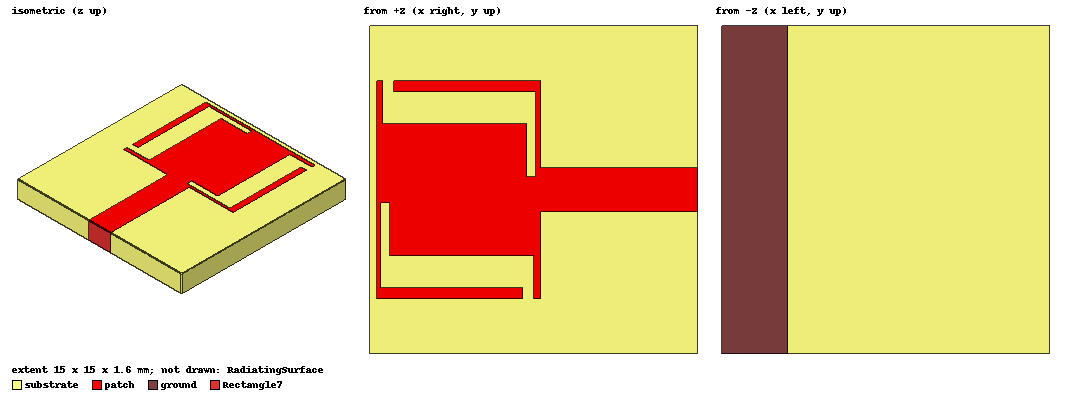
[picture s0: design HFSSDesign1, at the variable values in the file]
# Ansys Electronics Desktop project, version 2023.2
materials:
  vacuum: permittivity=1
  FR4_epoxy: permittivity=4.4 dielectric_loss_tangent=0.02
  air: permittivity=1.0006 permeability=1.0000004

design HFSSDesign1 (HFSS, HFSS Terminal Network, model units mm)
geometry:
  substrate [FR4_epoxy] = box(corner=((-15/2) mm, (-15/2) mm, 0mm), size=(15mm, 15mm, 1.6mm))
  patch = rectangle(corner=(-7.2mm, -5mm, 1.6mm), x_size=7.5mm, y_size=10mm)
  feedline = rectangle(corner=(7.5mm, -1mm, 1.6mm), x_size=-7.2mm, y_size=2mm)
  Rectangle1 = rectangle(corner=(-7mm, -4.5mm, 1.6mm), x_size=7mm, y_size=1.5mm)
  Rectangle2 = rectangle(corner=(0mm, -4.5mm, 1.6mm), x_size=-0.5mm, y_size=-0.5mm)
  Rectangle3 = rectangle(corner=(-7mm, -3mm, 1.6mm), x_size=0.4mm, y_size=2.4mm)
  Rectangle4 = rectangle(corner=(0.1mm, 2.8mm, 1.6mm), x_size=-0.4mm, y_size=-2.4mm)
  Rectangle5 = rectangle(corner=(-6.9mm, 4.5mm, 1.6mm), x_size=0.5mm, y_size=0.5mm)
  Rectangle6 = rectangle(corner=(-6.9mm, 4.5mm, 1.6mm), x_size=7mm, y_size=-1.5mm)
  Rectangle4.move(8.3266727e-17mm, 0.2mm, 0mm)
  patch.subtract(Rectangle1)
  patch.subtract(Rectangle2)
  patch.subtract(Rectangle3)
  patch.subtract(Rectangle4)
  patch.subtract(Rectangle5)
  patch.subtract(Rectangle6)
  patch.unite(feedline)
  ground = rectangle(corner=(7.5mm, -7.5mm, 0mm), x_size=-3mm, y_size=15mm)
  Rectangle7 = rectangle(corner=(7.5mm, -1mm, 1.6mm), y_size=2mm, z_size=-1.6mm)
  RadiatingSurface [vacuum] = region(absolute_offset=41.666667mm on all sides)
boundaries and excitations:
  PerfE1: Perfect E Objects=ground
  PerfE2: Perfect E Objects=patch
  Open1: Radiation Objects=RadiatingSurface
  1: Lumped Port Objects=Rectangle7 LumpedPortType=Modal Modes{Mode1{IntLine{(7.5, 0, 0) -> (7.5, 0, 1.6)} CharImp=Zpi}} Impedance=50ohm
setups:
  Setup1: HfssDriven Frequency=2.4GHz MaxDeltaS=0.02 MaximumPasses=10 MinimumPasses=1 MinimumConvergedPasses=1 PercentRefinement=30 BasisOrder=1 PortAccuracy=2 DrivenSolverType="Direct Solver"
    sweep Sweep: 1.2GHz to 12GHz, 50 points; Type=Discrete SaveFields SaveRadFields
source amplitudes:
  1:1: 1V 0deg
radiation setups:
  3D: Infinite Sphere Theta=0deg..180deg step 2deg Phi=-180deg..180deg step 2deg
  Elevation: Infinite Sphere Theta=-180deg..180deg step 1deg Phi=0deg..90deg step 90deg
  Azimuth: Infinite Sphere Theta=90deg..90deg step 0deg Phi=-180deg..180deg step 1deg
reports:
  Terminal S Parameter Plot 1: dB(St(1,1)) vs Freq on Setup1 : Sweep
  Terminal S Parameter Plot 2: dB(St(1,1)) vs Freq on Setup1 : Sweep
  Terminal S Parameter Plot 3: dB(St(1,1)) vs Freq on Setup1 : Sweep
  Terminal S Parameter Plot 4: dB(St(1,1)) vs Freq on Setup1 : Sweep
  Terminal S Parameter Plot 5: dB(St(1,1)) vs Freq on Setup1 : Sweep
  Terminal S Parameter Plot 6: dB(St(1,1)) vs Freq on Setup1 : Sweep
  Terminal S Parameter Plot 7: dB(St(1,1)) vs Freq on Setup1 : Sweep
